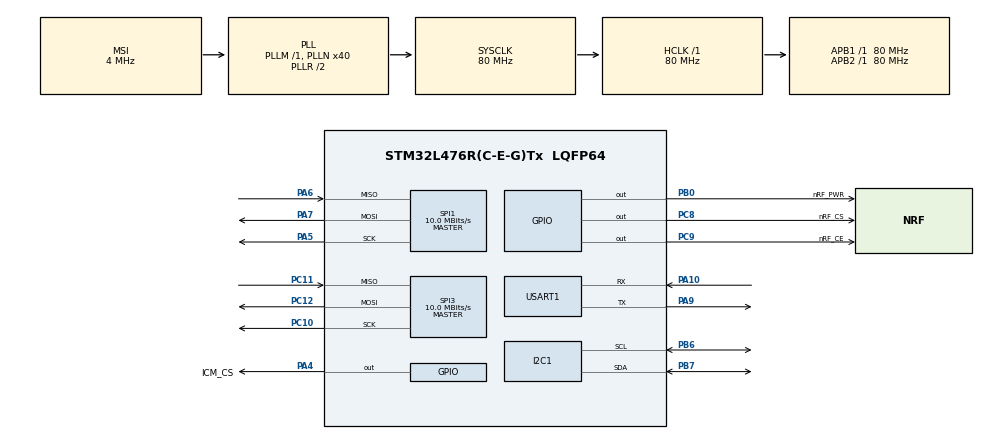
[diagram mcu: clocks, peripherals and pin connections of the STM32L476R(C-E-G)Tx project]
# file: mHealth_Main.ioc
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Mcu.Family=STM32L4
Mcu.Name=STM32L476R(C-E-G)Tx
Mcu.Package=LQFP64
NVIC.PriorityGroup=NVIC_PRIORITYGROUP_4
PA10.Mode=Asynchronous
PA10.Signal=USART1_RX
PA13\ (JTMS-SWDIO).Mode=Serial_Wire
PA13\ (JTMS-SWDIO).Signal=SYS_JTMS-SWDIO
PA14\ (JTCK-SWCLK).Mode=Serial_Wire
PA14\ (JTCK-SWCLK).Signal=SYS_JTCK-SWCLK
PA4.GPIO_Label=ICM_CS
PA4.Signal=GPIO_Output
PA5.Mode=Full_Duplex_Master
PA5.Signal=SPI1_SCK
PA6.Mode=Full_Duplex_Master
PA6.Signal=SPI1_MISO
PA7.Mode=Full_Duplex_Master
PA7.Signal=SPI1_MOSI
PA9.Mode=Asynchronous
PA9.Signal=USART1_TX
PB0.GPIO_Label=nRF_PWR
PB0.Signal=GPIO_Output
PB6.Mode=I2C
PB6.Signal=I2C1_SCL
PB7.Mode=I2C
PB7.Signal=I2C1_SDA
PC10.Mode=Full_Duplex_Master
PC10.Signal=SPI3_SCK
PC11.Mode=Full_Duplex_Master
PC11.Signal=SPI3_MISO
PC12.Mode=Full_Duplex_Master
PC12.Signal=SPI3_MOSI
PC8.GPIO_Label=nRF_CS
PC8.Signal=GPIO_Output
PC9.GPIO_Label=nRF_CE
PC9.Signal=GPIO_Output
PH0-OSC_IN\ (PH0).Mode=HSE-External-Oscillator
PH0-OSC_IN\ (PH0).Signal=RCC_OSC_IN
PH1-OSC_OUT\ (PH1).Mode=HSE-External-Oscillator
PH1-OSC_OUT\ (PH1).Signal=RCC_OSC_OUT
ProjectManager.HeapSize=0x200
ProjectManager.StackSize=0x400
ProjectManager.TargetToolchain=STM32CubeIDE
RCC.AHBFreq_Value=80000000
RCC.APB1Freq_Value=80000000
RCC.APB1TimFreq_Value=80000000
RCC.APB2Freq_Value=80000000
RCC.APB2TimFreq_Value=80000000
RCC.CortexFreq_Value=80000000
RCC.HCLKFreq_Value=80000000
RCC.HSE_VALUE=8000000
RCC.HSI_VALUE=16000000
RCC.LSE_VALUE=32768
RCC.MSI_VALUE=4000000
RCC.PLLN=40
RCC.SYSCLKFreq_VALUE=80000000
RCC.SYSCLKSource=RCC_SYSCLKSOURCE_PLLCLK
RCC.VCOOutputFreq_Value=160000000
SPI1.BaudRatePrescaler=SPI_BAUDRATEPRESCALER_8
SPI1.CLKPhase=SPI_PHASE_2EDGE
SPI1.CLKPolarity=SPI_POLARITY_HIGH
SPI1.CalculateBaudRate=10.0 MBits/s
SPI1.DataSize=SPI_DATASIZE_8BIT
SPI1.Direction=SPI_DIRECTION_2LINES
SPI1.Mode=SPI_MODE_MASTER
SPI1.VirtualType=VM_MASTER
SPI3.BaudRatePrescaler=SPI_BAUDRATEPRESCALER_8
SPI3.CalculateBaudRate=10.0 MBits/s
SPI3.DataSize=SPI_DATASIZE_8BIT
SPI3.Direction=SPI_DIRECTION_2LINES
SPI3.Mode=SPI_MODE_MASTER
SPI3.VirtualType=VM_MASTER
USART1.VirtualMode-Asynchronous=VM_ASYNC
board=custom

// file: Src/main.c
/* USER CODE BEGIN Header */
/**
  ******************************************************************************
  * @file           : main.c
  * @brief          : Main program body
  ******************************************************************************
  * @attention
  *
  * <h2><center>&copy; Copyright (c) 2019 STMicroelectronics.
  * All rights reserved.</center></h2>
  *
  * This software component is licensed by ST under BSD 3-Clause license,
  * the "License"; You may not use this file except in compliance with the
  * License. You may obtain a copy of the License at:
  *                        opensource.org/licenses/BSD-3-Clause
  *
  ******************************************************************************
  */
/* USER CODE END Header */

#include "main.h"

/* USER CODE BEGIN Includes */
#include "ICM_20948.h"
#include "MY_NRF24.h"
#include "MAX86150.h"
#include "stdbool.h"
#include "stdlib.h"
/* USER CODE END Includes */

/* USER CODE BEGIN PTD */
void moveArm(int16_t accel[3], int16_t gyro[3], int16_t mag[3]);
/* USER CODE END PTD */

I2C_HandleTypeDef hi2c1;

SPI_HandleTypeDef hspi1;
SPI_HandleTypeDef hspi3;

UART_HandleTypeDef huart1;

void SystemClock_Config(void);
static void MX_GPIO_Init(void);
static void MX_SPI3_Init(void);
static void MX_SPI1_Init(void);
static void MX_USART1_UART_Init(void);
static void MX_I2C1_Init(void);

/* USER CODE BEGIN 0 */
int16_t tx_buffer[10];
char uart_buffer[100];
uint64_t TxpipeAddrs = 0x11223344AA;
char AckPayload[32];
int16_t ppgunsigned16 = 0;

float posS = 100;
float posR = 90;
float posH = 50;
uint8_t rate = 30;
int16_t posR1 = 0;
int16_t posS1 = 0;
int16_t posH1 = 0;
int8_t n = 0;
uint8_t x = 1;
/* USER CODE END 0 */

int main(void)
{

  /* MCU Configuration--------------------------------------------------------*/

  /* Reset of all peripherals, Initializes the Flash interface and the Systick. */
  HAL_Init();

  /* Configure the system clock */
  SystemClock_Config();

  /* Initialize all configured peripherals */
  MX_GPIO_Init();
  MX_SPI3_Init();
  MX_SPI1_Init();
  MX_USART1_UART_Init();
  MX_I2C1_Init();
  /* USER CODE BEGIN 2 */
  HAL_GPIO_WritePin(nRF_PWR_GPIO_Port, nRF_PWR_Pin, GPIO_PIN_SET);

   NRF24_begin(nRF_CS_GPIO_Port, nRF_CS_Pin, nRF_CE_Pin, hspi3);
   nrf24_DebugUART_Init(huart1);

   NRF24_stopListening();
   NRF24_openWritingPipe(TxpipeAddrs);
   NRF24_setAutoAck(true);
   NRF24_setChannel(52);
   NRF24_setPayloadSize(32);

   NRF24_enableDynamicPayloads();
   NRF24_enableAckPayload();

   printRadioSettings();

   ICM_SelectBank(USER_BANK_0);
   ICM_PowerOn();

   MAX86150_setup();

   sprintf(uart_buffer, "G2201 S%i R%i H%i F1000000\r\n", 300, 90, 100);
   HAL_UART_Transmit(&huart1, (uint8_t*) uart_buffer, strlen(uart_buffer), 1000);
  /* USER CODE END 2 */

  /* Infinite loop */
  /* USER CODE BEGIN WHILE */
  while (1)
  {
	  // Select User Bank 0
	  		ICM_SelectBank(USER_BANK_0);
	  		HAL_Delay(10);

	  		// Obtain accelerometer and gyro data
	  		ICM_ReadAccelGyro();

	  		// Obtain magnetometer data
	  		int16_t mag_data[3];
	  		moveArm(accel_data, gyro_data, mag_data);

	  		/*
	  		ICM_ReadMag(mag_data);

	  		ppgunsigned16 = 15;
	  		//Read PPG sensor data
			if(MAX86150_check() > 0) {
					ppgunsigned16 = (uint16_t) (MAX86150_getFIFORed()>>2);
					ppgunsigned16 = 0;
			}

	  		// Print raw, but joined, axis data values to screen

			memcpy(tx_buffer, accel_data, sizeof(accel_data));
			memcpy(&tx_buffer[3], gyro_data, sizeof(gyro_data));
			memcpy(&tx_buffer[6], mag_data, sizeof(mag_data));
			//memcpy(&tx_buffer[9], ppgunsigned16, sizeof(ppgunsigned16));
			tx_buffer[9] = ppgunsigned16;

			// Print raw, but joined, axis data values to screen
			sprintf(uart_buffer,
					"(Ax: %i | Ay: %i | Az: %i)   "
					"(Gx: %i | Gy: %i | Gz: %i)   "
					"(Mx: %i | My: %i | Mz: %i)    (PPG: %i)"
					" \r\n",
					accel_data[0], accel_data[1], accel_data[2],
					gyro_data[0], gyro_data[1], gyro_data[2],
					mag_data[0], mag_data[1], mag_data[2], ppgunsigned16);
			HAL_UART_Transmit(&rx_buffer, (uint8_t*) uart_buffer, strlen(uart_buffer), 1000);

	  		if(NRF24_write(tx_buffer, sizeof(tx_buffer))) {
	  			HAL_UART_Transmit(&rx_buffer, (uint8_t *)"Transmitted Successfully\r\n", strlen("Transmitted Successfully\r\n"), 10);
	  		  	char myDataack[80];
	  		  	sprintf(myDataack, "AckPayload:  %s \r\n", AckPayload);
	  		  	HAL_UART_Transmit(&rx_buffer, (uint8_t *)myDataack, strlen(myDataack), 10);
	  		}*/
    /* USER CODE END WHILE */

  }
}

void moveArm(int16_t accel[3], int16_t gyro[3], int16_t mag[3]){

	//ICM_20948_AGMT_t agmt;
	float accx = accel[0];
	float accy = accel[1];
	float accz = accel[2];

	float gyrx = gyro[0];
	float gyry = gyro[1];
	float gyrz = gyro[2];

	float magx = mag[0];
	float magy = mag[1];
	float magz = mag[2];

	posR=posR+gyrz*rate/1000;

	//int iposR = round(posR);
	if (posR>180){
		posR = 180;
	}else if (posR<0){
		posR = 0;
	}

	posS= 300 - accy * 0.6;
	//int iposS = round(posS);

	if (posS>300){
		posS = 300;
	}else if (posS<10){
		posS = 10;
	}

	posR1=posR;
	posS1=posS1+posS;

	n=n+1;

	if (n==5){

		posS1=posS1/6;
		posH1=posH1/6;

		int16_t iposR = round(posR1);
		int16_t iposS = round(posS1);
		int16_t iposH = 100;

		sprintf(uart_buffer, "G2201 S%i R%i H%i F1000000\r\n", iposS, iposR, iposH);
		HAL_UART_Transmit(&huart1, (uint8_t*) uart_buffer, strlen(uart_buffer), 1000);

		n=0;

		if (iposR < 52 && iposR > 38 && iposS < 250 && iposS > 200  && x == 1){
				sprintf(uart_buffer, "G2201 S225 R45 H45 F10000\r\n");
				HAL_UART_Transmit(&huart1, (uint8_t*) uart_buffer, strlen(uart_buffer), 1000);
				HAL_Delay(2000);

				sprintf(uart_buffer, "G2201 S225 R45 H15 F10000\r\n");
				HAL_UART_Transmit(&huart1, (uint8_t*) uart_buffer, strlen(uart_buffer), 1000);
				HAL_Delay(2000);

				sprintf(uart_buffer, "M2231 V1\r\n");
				HAL_UART_Transmit(&huart1, (uint8_t*) uart_buffer, strlen(uart_buffer), 1000);
				HAL_Delay(500);

				sprintf(uart_buffer, "G2201 S%i R%i H%i F1000000\r\n", iposS, iposR, iposH);
				HAL_UART_Transmit(&huart1, (uint8_t*) uart_buffer, strlen(uart_buffer), 1000);
				HAL_Delay(500);

			    x = 0;
			 }

			if (iposR < 142 && iposR > 128 && iposS < 200 && iposS > 150 && x== 0){

				sprintf(uart_buffer, "G2201 S175 R135 H45 F10000\r\n");
				HAL_UART_Transmit(&huart1, (uint8_t*) uart_buffer, strlen(uart_buffer), 1000);
				HAL_Delay(2000);

				sprintf(uart_buffer, "G2201 S175 R135 H15 F10000\r\n");
				HAL_UART_Transmit(&huart1, (uint8_t*) uart_buffer, strlen(uart_buffer), 1000);
				HAL_Delay(2000);

				sprintf(uart_buffer, "M2231 V0\r\n");
				HAL_UART_Transmit(&huart1, (uint8_t*) uart_buffer, strlen(uart_buffer), 1000);
				HAL_Delay(500);

				sprintf(uart_buffer, "G2201 S%i R%i H%i F1000000\r\n", iposS, iposR, iposH);
				HAL_UART_Transmit(&huart1, (uint8_t*) uart_buffer, strlen(uart_buffer), 1000);
				HAL_Delay(500);

				x = 1;

			}

  }

}

void SystemClock_Config(void)
{
  RCC_OscInitTypeDef RCC_OscInitStruct = {0};
  RCC_ClkInitTypeDef RCC_ClkInitStruct = {0};
  RCC_PeriphCLKInitTypeDef PeriphClkInit = {0};

  /** Initializes the CPU, AHB and APB busses clocks
  */
  RCC_OscInitStruct.OscillatorType = RCC_OSCILLATORTYPE_MSI;
  RCC_OscInitStruct.MSIState = RCC_MSI_ON;
  RCC_OscInitStruct.MSICalibrationValue = 0;
  RCC_OscInitStruct.MSIClockRange = RCC_MSIRANGE_6;
  RCC_OscInitStruct.PLL.PLLState = RCC_PLL_ON;
  RCC_OscInitStruct.PLL.PLLSource = RCC_PLLSOURCE_MSI;
  RCC_OscInitStruct.PLL.PLLM = 1;
  RCC_OscInitStruct.PLL.PLLN = 40;
  RCC_OscInitStruct.PLL.PLLP = RCC_PLLP_DIV7;
  RCC_OscInitStruct.PLL.PLLQ = RCC_PLLQ_DIV2;
  RCC_OscInitStruct.PLL.PLLR = RCC_PLLR_DIV2;
  if (HAL_RCC_OscConfig(&RCC_OscInitStruct) != HAL_OK)
  {
    Error_Handler();
  }
  /** Initializes the CPU, AHB and APB busses clocks
  */
  RCC_ClkInitStruct.ClockType = RCC_CLOCKTYPE_HCLK|RCC_CLOCKTYPE_SYSCLK
                              |RCC_CLOCKTYPE_PCLK1|RCC_CLOCKTYPE_PCLK2;
  RCC_ClkInitStruct.SYSCLKSource = RCC_SYSCLKSOURCE_PLLCLK;
  RCC_ClkInitStruct.AHBCLKDivider = RCC_SYSCLK_DIV1;
  RCC_ClkInitStruct.APB1CLKDivider = RCC_HCLK_DIV1;
  RCC_ClkInitStruct.APB2CLKDivider = RCC_HCLK_DIV1;

  if (HAL_RCC_ClockConfig(&RCC_ClkInitStruct, FLASH_LATENCY_4) != HAL_OK)
  {
    Error_Handler();
  }
  PeriphClkInit.PeriphClockSelection = RCC_PERIPHCLK_USART1|RCC_PERIPHCLK_I2C1;
  PeriphClkInit.Usart1ClockSelection = RCC_USART1CLKSOURCE_PCLK2;
  PeriphClkInit.I2c1ClockSelection = RCC_I2C1CLKSOURCE_PCLK1;
  if (HAL_RCCEx_PeriphCLKConfig(&PeriphClkInit) != HAL_OK)
  {
    Error_Handler();
  }
  /** Configure the main internal regulator output voltage
  */
  if (HAL_PWREx_ControlVoltageScaling(PWR_REGULATOR_VOLTAGE_SCALE1) != HAL_OK)
  {
    Error_Handler();
  }
}

static void MX_I2C1_Init(void)
{

  hi2c1.Instance = I2C1;
  hi2c1.Init.Timing = 0x10909CEC;
  hi2c1.Init.OwnAddress1 = 0;
  hi2c1.Init.AddressingMode = I2C_ADDRESSINGMODE_7BIT;
  hi2c1.Init.DualAddressMode = I2C_DUALADDRESS_DISABLE;
  hi2c1.Init.OwnAddress2 = 0;
  hi2c1.Init.OwnAddress2Masks = I2C_OA2_NOMASK;
  hi2c1.Init.GeneralCallMode = I2C_GENERALCALL_DISABLE;
  hi2c1.Init.NoStretchMode = I2C_NOSTRETCH_DISABLE;
  if (HAL_I2C_Init(&hi2c1) != HAL_OK)
  {
    Error_Handler();
  }
  /** Configure Analogue filter
  */
  if (HAL_I2CEx_ConfigAnalogFilter(&hi2c1, I2C_ANALOGFILTER_ENABLE) != HAL_OK)
  {
    Error_Handler();
  }
  /** Configure Digital filter
  */
  if (HAL_I2CEx_ConfigDigitalFilter(&hi2c1, 0) != HAL_OK)
  {
    Error_Handler();
  }

}

static void MX_SPI1_Init(void)
{

  /* SPI1 parameter configuration*/
  hspi1.Instance = SPI1;
  hspi1.Init.Mode = SPI_MODE_MASTER;
  hspi1.Init.Direction = SPI_DIRECTION_2LINES;
  hspi1.Init.DataSize = SPI_DATASIZE_8BIT;
  hspi1.Init.CLKPolarity = SPI_POLARITY_HIGH;
  hspi1.Init.CLKPhase = SPI_PHASE_2EDGE;
  hspi1.Init.NSS = SPI_NSS_SOFT;
  hspi1.Init.BaudRatePrescaler = SPI_BAUDRATEPRESCALER_8;
  hspi1.Init.FirstBit = SPI_FIRSTBIT_MSB;
  hspi1.Init.TIMode = SPI_TIMODE_DISABLE;
  hspi1.Init.CRCCalculation = SPI_CRCCALCULATION_DISABLE;
  hspi1.Init.CRCPolynomial = 7;
  hspi1.Init.CRCLength = SPI_CRC_LENGTH_DATASIZE;
  hspi1.Init.NSSPMode = SPI_NSS_PULSE_DISABLE;
  if (HAL_SPI_Init(&hspi1) != HAL_OK)
  {
    Error_Handler();
  }

}

static void MX_SPI3_Init(void)
{

  /* SPI3 parameter configuration*/
  hspi3.Instance = SPI3;
  hspi3.Init.Mode = SPI_MODE_MASTER;
  hspi3.Init.Direction = SPI_DIRECTION_2LINES;
  hspi3.Init.DataSize = SPI_DATASIZE_8BIT;
  hspi3.Init.CLKPolarity = SPI_POLARITY_LOW;
  hspi3.Init.CLKPhase = SPI_PHASE_1EDGE;
  hspi3.Init.NSS = SPI_NSS_SOFT;
  hspi3.Init.BaudRatePrescaler = SPI_BAUDRATEPRESCALER_8;
  hspi3.Init.FirstBit = SPI_FIRSTBIT_MSB;
  hspi3.Init.TIMode = SPI_TIMODE_DISABLE;
  hspi3.Init.CRCCalculation = SPI_CRCCALCULATION_DISABLE;
  hspi3.Init.CRCPolynomial = 7;
  hspi3.Init.CRCLength = SPI_CRC_LENGTH_DATASIZE;
  hspi3.Init.NSSPMode = SPI_NSS_PULSE_ENABLE;
  if (HAL_SPI_Init(&hspi3) != HAL_OK)
  {
    Error_Handler();
  }

}

static void MX_USART1_UART_Init(void)
{

  huart1.Instance = USART1;
  huart1.Init.BaudRate = 115200;
  huart1.Init.WordLength = UART_WORDLENGTH_8B;
  huart1.Init.StopBits = UART_STOPBITS_1;
  huart1.Init.Parity = UART_PARITY_NONE;
  huart1.Init.Mode = UART_MODE_TX_RX;
  huart1.Init.HwFlowCtl = UART_HWCONTROL_NONE;
  huart1.Init.OverSampling = UART_OVERSAMPLING_16;
  huart1.Init.OneBitSampling = UART_ONE_BIT_SAMPLE_DISABLE;
  huart1.AdvancedInit.AdvFeatureInit = UART_ADVFEATURE_NO_INIT;
  if (HAL_UART_Init(&huart1) != HAL_OK)
  {
    Error_Handler();
  }

}

static void MX_GPIO_Init(void)
{
  GPIO_InitTypeDef GPIO_InitStruct = {0};

  /* GPIO Ports Clock Enable */
  __HAL_RCC_GPIOH_CLK_ENABLE();
  __HAL_RCC_GPIOA_CLK_ENABLE();
  __HAL_RCC_GPIOB_CLK_ENABLE();
  __HAL_RCC_GPIOC_CLK_ENABLE();

  /*Configure GPIO pin Output Level */
  HAL_GPIO_WritePin(ICM_CS_GPIO_Port, ICM_CS_Pin, GPIO_PIN_RESET);

  /*Configure GPIO pin Output Level */
  HAL_GPIO_WritePin(nRF_PWR_GPIO_Port, nRF_PWR_Pin, GPIO_PIN_RESET);

  /*Configure GPIO pin Output Level */
  HAL_GPIO_WritePin(GPIOC, nRF_CS_Pin|nRF_CE_Pin, GPIO_PIN_RESET);

  /*Configure GPIO pin : ICM_CS_Pin */
  GPIO_InitStruct.Pin = ICM_CS_Pin;
  GPIO_InitStruct.Mode = GPIO_MODE_OUTPUT_PP;
  GPIO_InitStruct.Pull = GPIO_NOPULL;
  GPIO_InitStruct.Speed = GPIO_SPEED_FREQ_LOW;
  HAL_GPIO_Init(ICM_CS_GPIO_Port, &GPIO_InitStruct);

  /*Configure GPIO pin : nRF_PWR_Pin */
  GPIO_InitStruct.Pin = nRF_PWR_Pin;
  GPIO_InitStruct.Mode = GPIO_MODE_OUTPUT_PP;
  GPIO_InitStruct.Pull = GPIO_NOPULL;
  GPIO_InitStruct.Speed = GPIO_SPEED_FREQ_LOW;
  HAL_GPIO_Init(nRF_PWR_GPIO_Port, &GPIO_InitStruct);

  /*Configure GPIO pins : nRF_CS_Pin nRF_CE_Pin */
  GPIO_InitStruct.Pin = nRF_CS_Pin|nRF_CE_Pin;
  GPIO_InitStruct.Mode = GPIO_MODE_OUTPUT_PP;
  GPIO_InitStruct.Pull = GPIO_NOPULL;
  GPIO_InitStruct.Speed = GPIO_SPEED_FREQ_LOW;
  HAL_GPIO_Init(GPIOC, &GPIO_InitStruct);

}

void Error_Handler(void)
{
}

/************************ (C) COPYRIGHT STMicroelectronics *****END OF FILE****/
